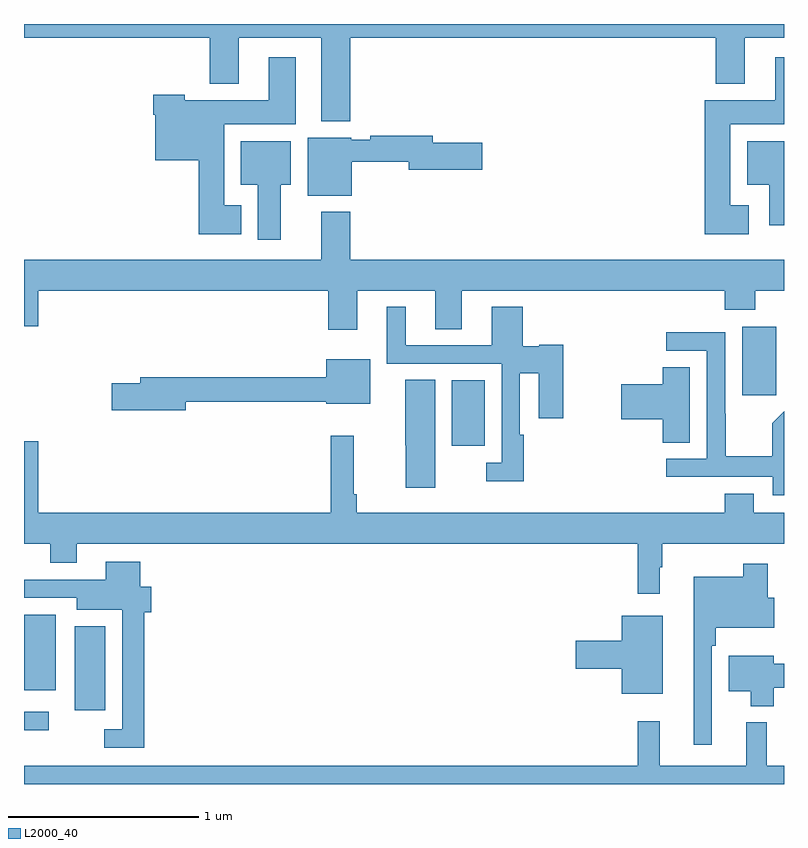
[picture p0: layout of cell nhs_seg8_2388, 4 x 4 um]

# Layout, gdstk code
import gdstk
lib = gdstk.Library(unit=1e-6, precision=1e-09)
def R(c, l, rs):  # rectangles x0, y0, x1, y1
    for r in rs: c.add(gdstk.rectangle(r[:2], r[2:], *l))
def P(c, l, *ps):  # polygons
    for p in ps: c.add(gdstk.Polygon(p, *l))
L2000_40 = (2000, 40)

nhs_seg8_2388 = lib.new_cell('nhs_seg8_2388')
R(nhs_seg8_2388, L2000_40, [(261,1118.184,261.13,1118.28), (261.266,1118.289,261.427,1118.731), (261,1118.393,261.166,1118.791), (263.252,1119.68,263.425,1120.024), (264.779,1119.945,264.958,1120.306)])
P(nhs_seg8_2388, L2000_40, [(262.718,1121.828),(264.641,1121.828),(264.641,1121.585),(264.793,1121.585),(264.793,1121.828),(265,1121.828),(265,1121.9),(261,1121.9),(261,1121.828),(261.977,1121.828),(261.977,1121.585),(262.129,1121.585),(262.129,1121.828),(262.565,1121.828),(262.565,1121.387),(262.718,1121.387)],
  [(264.814,1120.945),(264.718,1120.945),(264.718,1121.372),(265,1121.372),(265,1121.725),(264.953,1121.725),(264.953,1121.5),(264.584,1121.5),(264.584,1120.793),(264.814,1120.793)],
  [(262.144,1120.945),(262.054,1120.945),(262.054,1121.372),(262.429,1121.372),(262.429,1121.725),(262.289,1121.725),(262.289,1121.5),(261.846,1121.5),(261.846,1121.527),(261.68,1121.527),(261.68,1121.423),(261.692,1121.423),(261.692,1121.183),(261.92,1121.183),(261.92,1120.793),(262.144,1120.793)],
  [(262.726,1121.176),(263.024,1121.176),(263.024,1121.134),(263.413,1121.134),(263.413,1121.276),(263.152,1121.276),(263.152,1121.312),(262.822,1121.312),(262.822,1121.292),(262.722,1121.292),(262.722,1121.302),(262.493,1121.302),(262.493,1120.997),(262.726,1120.997)],
  [(262.351,1121.054),(262.405,1121.054),(262.405,1121.284),(262.142,1121.284),(262.142,1121.054),(262.229,1121.054),(262.229,1120.764),(262.351,1120.764)],
  [(265,1121.284),(264.806,1121.284),(264.806,1121.054),(264.923,1121.054),(264.923,1120.842),(265,1120.842)],
  [(262.753,1120.496),(263.165,1120.496),(263.165,1120.294),(263.305,1120.294),(263.305,1120.496),(264.689,1120.496),(264.689,1120.397),(264.849,1120.397),(264.849,1120.496),(265,1120.496),(265,1120.66),(262.718,1120.66),(262.718,1120.912),(262.565,1120.912),(262.565,1120.66),(261,1120.66),(261,1120.308),(261.076,1120.308),(261.076,1120.496),(262.601,1120.496),(262.601,1120.29),(262.753,1120.29)],
  [(263.63,1119.737),(263.61,1119.737),(263.61,1120.061),(263.708,1120.061),(263.708,1119.825),(263.838,1119.825),(263.838,1120.213),(263.712,1120.213),(263.712,1120.203),(263.624,1120.203),(263.624,1120.411),(263.462,1120.411),(263.462,1120.209),(263.008,1120.209),(263.008,1120.411),(262.91,1120.411),(262.91,1120.113),(263.514,1120.113),(263.514,1119.591),(263.433,1119.591),(263.433,1119.494),(263.63,1119.494)],
  [(265,1119.862),(264.937,1119.799),(264.937,1119.625),(264.693,1119.625),(264.693,1119.848),(264.69,1119.848),(264.69,1120.278),(264.381,1120.278),(264.381,1120.179),(264.594,1120.179),(264.594,1119.612),(264.381,1119.612),(264.381,1119.516),(264.942,1119.516),(264.942,1119.419),(265,1119.419)],
  [(261.85,1119.913),(262.592,1119.913),(262.592,1119.902),(262.822,1119.902),(262.822,1120.135),(262.592,1120.135),(262.592,1120.042),(261.611,1120.042),(261.611,1120.008),(261.462,1120.008),(261.462,1119.866),(261.85,1119.866)],
  [(264.505,1120.094),(264.362,1120.094),(264.362,1120.004),(264.144,1120.004),(264.144,1119.821),(264.362,1119.821),(264.362,1119.697),(264.505,1119.697)],
  [(263.164,1120.028),(263.006,1120.028),(263.006,1119.684),(263.009,1119.684),(263.009,1119.459),(263.164,1119.459)],
  [(262.615,1119.733),(262.615,1119.328),(261.076,1119.328),(261.076,1119.703),(261,1119.703),(261,1119.164),(261.137,1119.164),(261.137,1119.065),(261.277,1119.065),(261.277,1119.164),(264.229,1119.164),(264.229,1118.901),(264.346,1118.901),(264.346,1119.041),(264.358,1119.041),(264.358,1119.164),(265,1119.164),(265,1119.328),(264.841,1119.328),(264.841,1119.427),(264.689,1119.427),(264.689,1119.328),(262.751,1119.328),(262.751,1119.424),(262.736,1119.424),(262.736,1119.733)],
  [(261.632,1118.804),(261.671,1118.804),(261.671,1118.938),(261.613,1118.938),(261.613,1119.07),(261.431,1119.07),(261.431,1118.976),(261,1118.976),(261,1118.88),(261.278,1118.88),(261.278,1118.816),(261.516,1118.816),(261.516,1118.187),(261.423,1118.187),(261.423,1118.091),(261.632,1118.091)],
  [(264.621,1118.627),(264.641,1118.627),(264.641,1118.723),(264.949,1118.723),(264.949,1118.881),(264.914,1118.881),(264.914,1119.058),(264.786,1119.058),(264.786,1118.992),(264.524,1118.992),(264.524,1118.106),(264.621,1118.106)],
  [(264.361,1118.785),(264.146,1118.785),(264.146,1118.654),(263.904,1118.654),(263.904,1118.507),(264.146,1118.507),(264.146,1118.375),(264.361,1118.375)],
  [(264.946,1118.406),(265,1118.406),(265,1118.534),(264.946,1118.534),(264.946,1118.575),(264.71,1118.575),(264.71,1118.387),(264.824,1118.387),(264.824,1118.309),(264.946,1118.309)],
  [(265,1117.996),(264.91,1117.996),(264.91,1118.224),(264.8,1118.224),(264.8,1117.996),(264.347,1117.996),(264.347,1118.23),(264.229,1118.23),(264.229,1117.996),(261,1117.996),(261,1117.9),(265,1117.9)])

lib.write_gds('nhs_seg8_2388.gds')
